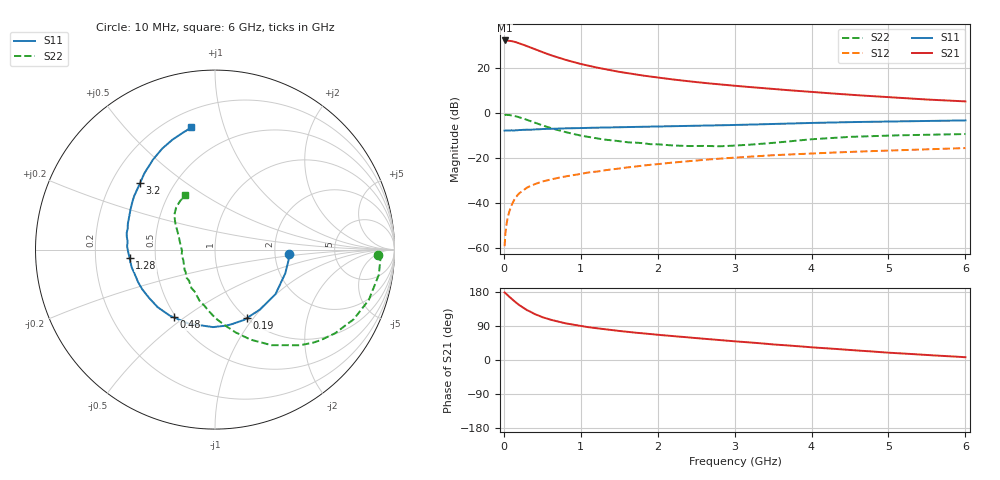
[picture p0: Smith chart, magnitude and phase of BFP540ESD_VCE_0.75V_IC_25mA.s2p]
! Infineon Technologies  Discrete & RF Semiconductors
! BFP540ESD
! VCE = 0.75 V,  IC =  25 mA
! Common Emitter S-Parameters:  Nov 2015
# GHz  S  MA  R  50
!  f  S11  S21  S12  S22
! GHz  MAG  ANG  MAG  ANG  MAG  ANG  MAG  ANG
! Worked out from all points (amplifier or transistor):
!   210 points, 10 MHz to 6 GHz, reference 50 ohm
!   highest |S21| = 32.4 dB at 10 MHz (marker M1)
!   |S21| within 3 dB of that: start of sweep to 334.8 MHz
!   unconditionally stable (mu >= 1): start of sweep to 15.28 MHz; 1.841 GHz to end of sweep
!   at 185 MHz: K = 0.27, MSG = 33.8 dB, |S12| = -36.2 dB
!   at 1.52 GHz: K = 0.95, MSG = 21.4 dB, |S12| = -24.5 dB
!   at 6 GHz: K = 1.13, MAG = 8.2 dB, |S12| = -15.5 dB
!   S11 on the Smith chart (normalised r, x): 10 MHz: 2.39, -0.16; 190 MHz: 1.01, -0.93; 480 MHz: 0.49, -0.46; 1.28 GHz: 0.35, -0.04; 3.2 GHz: 0.32, +0.35; 6 GHz: 0.30, +0.78
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0.01  0.4114 -3.8  41.73 178.2  0.0011 98.9  0.909 -1.8
0.05  0.4133 -18.8  41.43 170.8  0.0047 89.2  0.9233 -8.8
0.1  0.4186 -36.4  40.43 161.5  0.0089 81.6  0.9015 -18.2
0.15  0.4174 -53.2  38.52 152.8  0.0131 74.3  0.8644 -26.7
0.19  0.4206 -64.7  36.61 146.6  0.0158 71.1  0.8243 -33.1
0.24  0.4262 -77.6  34.15 139.4  0.0185 68.4  0.7759 -40.5
0.3  0.4319 -91.5  31.23 131.7  0.022 63.7  0.7137 -48.3
0.4  0.4378 -109.6  26.68 121.3  0.0264 60.6  0.6195 -59.3
0.48  0.4421 -121.4  23.68 114.9  0.0294 57.5  0.5532 -66.5
0.5  0.446 -124.3  22.98 113.0  0.0302 56.8  0.5382 -68.6
0.6  0.4527 -134.9  19.87 106.7  0.0333 56.2  0.4739 -76.2
0.7  0.4555 -143.8  17.5 101.4  0.0362 55.0  0.4227 -83.0
0.8  0.4617 -151.4  15.46 96.8  0.0392 55.1  0.3807 -89.8
1.02  0.4684 -163.9  12.29 89.0  0.0454 54.1  0.3139 -101.9
1.28  0.4785 -174.5  9.838 81.9  0.0527 53.4  0.2637 -114.7
1.6  0.4888 174.8  7.839 74.5  0.0621 52.2  0.2254 -130.0
2.02  0.5065 163.4  6.162 66.2  0.0742 49.9  0.2027 -146.7
3.1  0.5534 140.2  3.955 47.9  0.1053 41.4  0.195 171.2
3.2  0.5591 138.2  3.827 46.3  0.1081 40.3  0.2 167.8
4.1  0.6133 123.1  2.895 32.2  0.1295 31.6  0.2703 145.2
5.1  0.66 110.0  2.226 18.2  0.1498 22.3  0.322 131.2
6  0.6928 100.9  1.836 7.3  0.1679 15.2  0.3447 118.7
